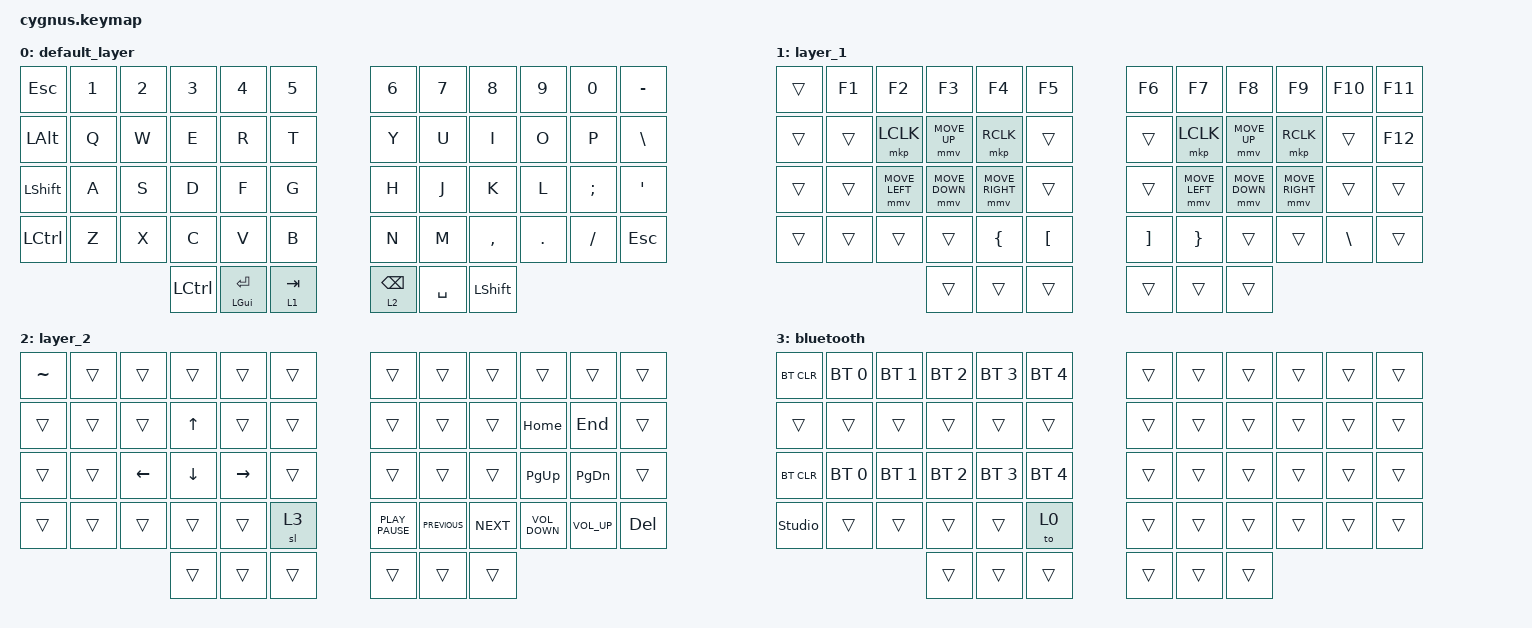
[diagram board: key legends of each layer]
#include <behaviors.dtsi>
#include <dt-bindings/zmk/bt.h>
#include <dt-bindings/zmk/keys.h>
#include <dt-bindings/zmk/pointing.h>

/ {
    combos {
        compatible = "zmk,combos";

        bluetooth {
            bindings = <&mo 3>;
            key-positions = <41 36>;
        };

        bt2 {
            bindings = <&mo 3>;
            key-positions = <48 53>;
        };
    };

    keymap {
        compatible = "zmk,keymap";

        default_layer {
            // -----------------------------------------------------------------------------------------
            // |  ESC |  1  |  2  |  3  |  4  |  5  |   |  6  |  7   |  8  |  9  |  0  |  ?   |
            // |  TAB |  Q  |  W  |  E  |  R  |  T  |   |  Y  |  U   |  I  |  O  |  P  | BKSP |
            // | CTRL |  A  |  S  |  D  |  F  |  G  |   |  H  |  J   |  K  |  L  |  ;  |  '   |
            // | SHFT |  Z  |  X  |  C  |  V  |  B  |   |  N  |  M   |  ,  |  .  |  /  | ESC  |
            //                    | GUI | LWR | SPC |   | ENT | RSE  | ALT |

            bindings = <
&kp ESCAPE      &kp N1  &kp N2  &kp N3     &kp N4              &kp N5       &kp N6           &kp N7     &kp N8          &kp N9   &kp N0     &kp MINUS
&kp LEFT_ALT    &kp Q   &kp W   &kp E      &kp R               &kp T        &kp Y            &kp U      &kp I           &kp O    &kp P      &kp BACKSLASH
&kp LEFT_SHIFT  &kp A   &kp S   &kp D      &kp F               &kp G        &kp H            &kp J      &kp K           &kp L    &kp SEMI   &kp SQT
&kp LCTRL       &kp Z   &kp X   &kp C      &kp V               &kp B        &kp N            &kp M      &kp COMMA       &kp DOT  &kp SLASH  &kp ESCAPE
                                &kp LCTRL  &mt LEFT_GUI ENTER  &lt 1 TAB    &lt 2 BACKSPACE  &kp SPACE  &kp LEFT_SHIFT
            >;
        };

        layer_1 {
            // -----------------------------------------------------------------------------------------
            // |  TAB |  F1 |  F2 |  F3 |  F4 |  F5 |   |  F6 |  F7 |  F8 |  F9 | F10 | BKSP |
            // |  TAB |  1  |  2  |  3  |  4  |  5  |   |  6  |  7  |  8  |  9  |  0  | BKSP |
            // | BTCLR| BT1 | BT2 | BT3 | BT4 | BT5 |   | LFT | DWN |  UP | RGT |     |      |
            // | SHFT |     |     |     |     |     |   |     |     |     |     |     |      |
            //                    | GUI |     | SPC |   | ENT |     | ALT |

            bindings = <
&trans  &kp F1  &kp F2          &kp F3          &kp F4           &kp F5              &kp F6             &kp F7           &kp F8          &kp F9           &kp F10        &kp F11
&trans  &trans  &mkp LCLK       &mmv MOVE_UP    &mkp RCLK        &trans              &trans             &mkp LCLK        &mmv MOVE_UP    &mkp RCLK        &trans         &kp F12
&trans  &trans  &mmv MOVE_LEFT  &mmv MOVE_DOWN  &mmv MOVE_RIGHT  &trans              &trans             &mmv MOVE_LEFT   &mmv MOVE_DOWN  &mmv MOVE_RIGHT  &trans         &trans
&trans  &trans  &trans          &trans          &kp LEFT_BRACE   &kp LEFT_BRACKET    &kp RIGHT_BRACKET  &kp RIGHT_BRACE  &trans          &trans           &kp BACKSLASH  &trans
                                &trans          &trans           &trans              &trans             &trans           &trans
            >;
        };

        layer_2 {
            // -----------------------------------------------------------------------------------------
            // |  TAB |  !  |  @  |  #  |  $  |  %  |   |  ^  |  &  |  *  |  (  |  )  | BKSP |
            // | CTRL |     |     |     |     |     |   |  -  |  =  |  [  |  ]  |  \  |  `   |
            // | SHFT |     |     |     |     |     |   |  _  |  +  |  {  |  }  | "|" |  ~   |
            //                    | GUI |     | SPC |   | ENT |     | ALT |

            bindings = <
&kp TILDE  &trans  &trans          &trans          &trans           &trans    &trans            &trans          &trans      &trans             &trans           &trans
&trans     &trans  &trans          &kp UP_ARROW    &trans           &trans    &trans            &trans          &trans      &kp HOME           &kp END          &trans
&trans     &trans  &kp LEFT_ARROW  &kp DOWN_ARROW  &kp RIGHT_ARROW  &trans    &trans            &trans          &trans      &kp PAGE_UP        &kp PAGE_DOWN    &trans
&trans     &trans  &trans          &trans          &trans           &sl 3     &kp K_PLAY_PAUSE  &kp C_PREVIOUS  &kp C_NEXT  &kp C_VOLUME_DOWN  &kp C_VOLUME_UP  &kp DEL
                                   &trans          &trans           &trans    &trans            &trans          &trans
            >;
        };

        bluetooth {
            bindings = <
&bt BT_CLR      &bt BT_SEL 0  &bt BT_SEL 1  &bt BT_SEL 2  &bt BT_SEL 3  &bt BT_SEL 4    &trans  &trans  &trans  &trans  &trans  &trans
&trans          &trans        &trans        &trans        &trans        &trans          &trans  &trans  &trans  &trans  &trans  &trans
&bt BT_CLR      &bt BT_SEL 0  &bt BT_SEL 1  &bt BT_SEL 2  &bt BT_SEL 3  &bt BT_SEL 4    &trans  &trans  &trans  &trans  &trans  &trans
&studio_unlock  &trans        &trans        &trans        &trans        &to 0           &trans  &trans  &trans  &trans  &trans  &trans
                                            &trans        &trans        &trans          &trans  &trans  &trans
            >;
        };
    };
};
